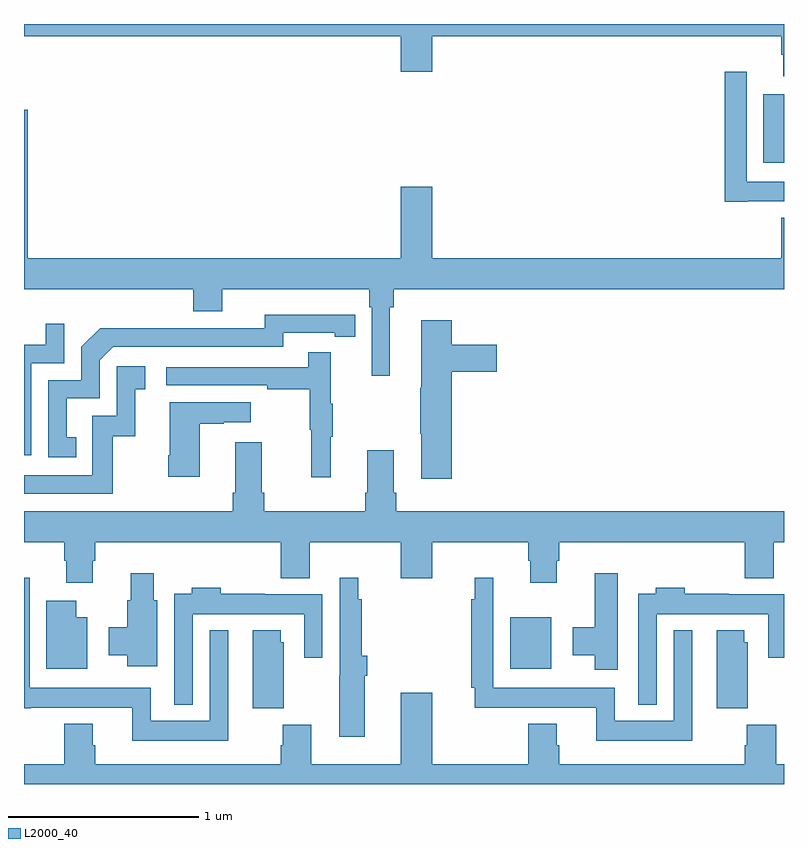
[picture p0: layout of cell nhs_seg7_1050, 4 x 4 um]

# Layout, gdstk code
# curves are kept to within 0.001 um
import gdstk
lib = gdstk.Library(unit=1e-6, precision=1e-09)
def R(c, l, rs):  # rectangles x0, y0, x1, y1
    for r in rs: c.add(gdstk.rectangle(r[:2], r[2:], *l))
def P(c, l, *ps):  # polygons
    for p in ps: c.add(gdstk.Polygon(p, *l))
L2000_40 = (2000, 40)

nhs_seg7_1050 = lib.new_cell('nhs_seg7_1050')
R(nhs_seg7_1050, L2000_40, [(189.56,1010.606,189.775,1010.878), (190.892,1013.27,191,1013.629)])
P(nhs_seg7_1050, L2000_40, [(191,1014),(187,1014),(187,1013.936),(188.984,1013.936),(188.984,1013.748),(189.148,1013.748),(189.148,1013.936),(190.985,1013.936),(190.985,1013.838),(190.997,1013.838),(190.997,1013.724),(191,1013.724)],
  [(190.81,1013.066),(191,1013.066),(191,1013.17),(190.803,1013.17),(190.803,1013.749),(190.687,1013.749),(190.687,1013.064),(190.81,1013.064)],
  [(188.926,1012.508),(188.945,1012.508),(188.945,1012.604),(191,1012.604),(191,1012.981),(190.985,1012.981),(190.985,1012.768),(189.148,1012.768),(189.148,1013.143),(188.984,1013.143),(188.984,1012.768),(187.019,1012.768),(187.019,1013.548),(187,1013.548),(187,1012.604),(187.892,1012.604),(187.892,1012.487),(188.044,1012.487),(188.044,1012.604),(188.816,1012.604),(188.816,1012.508),(188.829,1012.508),(188.829,1012.149),(188.926,1012.149)],
  [(187.274,1011.825),(187.225,1011.825),(187.225,1012.029),(187.398,1012.029),(187.398,1012.23),(187.47,1012.302),(188.364,1012.302),(188.364,1012.374),(188.636,1012.374),(188.636,1012.354),(188.744,1012.354),(188.744,1012.47),(188.268,1012.471),(188.268,1012.398),(187.808,1012.398),(187.808,1012.4),(187.4,1012.4),(187.302,1012.302),(187.302,1012.125),(187.128,1012.125),(187.128,1011.72),(187.274,1011.72)],
  [(189.251,1012.169),(189.487,1012.169),(189.487,1012.311),(189.251,1012.311),(189.251,1012.441),(189.092,1012.441),(189.092,1012.085),(189.085,1012.085),(189.085,1011.844),(189.092,1011.844),(189.092,1011.606),(189.251,1011.606)],
  [(187.038,1012.215),(187.212,1012.215),(187.212,1012.423),(187.115,1012.423),(187.115,1012.311),(187,1012.311),(187,1011.729),(187.038,1011.729)],
  [(188.615,1011.827),(188.626,1011.827),(188.626,1012.001),(188.615,1012.001),(188.615,1012.273),(188.497,1012.273),(188.497,1012.194),(187.749,1012.194),(187.749,1012.098),(188.281,1012.098),(188.281,1012.078),(188.505,1012.078),(188.505,1011.864),(188.512,1011.864),(188.512,1011.615),(188.615,1011.615)],
  [(187.468,1011.831),(187.586,1011.831),(187.586,1012.077),(187.639,1012.077),(187.639,1012.198),(187.488,1012.198),(187.488,1011.939),(187.359,1011.939),(187.359,1011.624),(187,1011.624),(187,1011.528),(187.468,1011.528)],
  [(187.924,1011.895),(188.051,1011.895),(188.051,1011.905),(188.194,1011.905),(188.194,1012.009),(187.766,1012.009),(187.766,1011.73),(187.759,1011.73),(187.759,1011.618),(187.924,1011.618)],
  [(187.363,1011.174),(187.376,1011.174),(187.376,1011.272),(188.351,1011.272),(188.351,1011.083),(188.503,1011.083),(188.503,1011.272),(188.984,1011.272),(188.984,1011.084),(189.148,1011.084),(189.148,1011.272),(189.653,1011.272),(189.653,1011.174),(189.665,1011.174),(189.665,1011.06),(189.805,1011.06),(189.805,1011.174),(189.818,1011.174),(189.818,1011.272),(190.793,1011.272),(190.793,1011.083),(190.945,1011.083),(190.945,1011.272),(191,1011.272),(191,1011.436),(188.96,1011.436),(188.96,1011.532),(188.947,1011.532),(188.947,1011.757),(188.807,1011.757),(188.807,1011.532),(188.795,1011.532),(188.795,1011.436),(188.264,1011.436),(188.264,1011.532),(188.251,1011.532),(188.251,1011.799),(188.111,1011.799),(188.111,1011.532),(188.099,1011.532),(188.099,1011.436),(187,1011.436),(187,1011.272),(187.211,1011.272),(187.211,1011.174),(187.223,1011.174),(187.223,1011.06),(187.363,1011.06)],
  [(187.702,1010.967),(187.684,1010.967),(187.684,1011.109),(187.562,1011.109),(187.562,1010.967),(187.544,1010.967),(187.544,1010.826),(187.445,1010.826),(187.445,1010.678),(187.544,1010.678),(187.544,1010.619),(187.702,1010.619)],
  [(190.126,1011.109),(190.004,1011.109),(190.004,1010.826),(189.887,1010.826),(189.887,1010.678),(190.004,1010.678),(190.004,1010.601),(190.126,1010.601)],
  [(188.794,1010.57),(188.807,1010.57),(188.807,1010.674),(188.777,1010.674),(188.777,1010.972),(188.76,1010.972),(188.76,1011.085),(188.661,1011.085),(188.661,1010.57),(188.66,1010.57),(188.66,1010.25),(188.794,1010.25)],
  [(190.516,1010.809),(190.419,1010.809),(190.419,1010.332),(190.11,1010.332),(190.11,1010.506),(189.471,1010.506),(189.471,1011.085),(189.373,1011.085),(189.373,1010.972),(189.355,1010.972),(189.355,1010.506),(189.373,1010.506),(189.373,1010.402),(190.013,1010.402),(190.013,1010.228),(190.516,1010.228)],
  [(188.074,1010.809),(187.977,1010.809),(187.977,1010.332),(187.668,1010.332),(187.668,1010.506),(187.029,1010.506),(187.029,1011.085),(187,1011.085),(187,1010.4),(187.036,1010.4),(187.036,1010.402),(187.571,1010.402),(187.571,1010.228),(188.074,1010.228)],
  [(187.887,1010.894),(188.475,1010.894),(188.475,1010.664),(188.571,1010.664),(188.571,1010.998),(188.267,1010.998),(188.267,1011.001),(188.036,1011.001),(188.036,1011.034),(187.883,1011.034),(187.883,1011.001),(187.791,1011.001),(187.791,1010.417),(187.887,1010.417)],
  [(190.329,1010.894),(190.917,1010.894),(190.917,1010.664),(191,1010.664),(191,1010.998),(190.709,1010.998),(190.709,1011.001),(190.478,1011.001),(190.478,1011.034),(190.325,1011.034),(190.325,1011.001),(190.233,1011.001),(190.233,1010.417),(190.329,1010.417)],
  [(187.333,1010.878),(187.276,1010.878),(187.276,1010.965),(187.118,1010.965),(187.118,1010.606),(187.333,1010.606)],
  [(190.81,1010.745),(190.792,1010.745),(190.792,1010.809),(190.646,1010.809),(190.646,1010.398),(190.81,1010.398)],
  [(188.368,1010.745),(188.35,1010.745),(188.35,1010.809),(188.204,1010.809),(188.204,1010.398),(188.368,1010.398)],
  [(191,1010.104),(190.958,1010.104),(190.958,1010.313),(190.805,1010.313),(190.805,1010.204),(190.793,1010.204),(190.793,1010.104),(189.818,1010.104),(189.818,1010.205),(189.805,1010.205),(189.805,1010.317),(189.653,1010.317),(189.653,1010.104),(189.148,1010.104),(189.148,1010.479),(188.984,1010.479),(188.984,1010.104),(188.511,1010.104),(188.511,1010.313),(188.363,1010.313),(188.363,1010.204),(188.351,1010.204),(188.351,1010.104),(187.376,1010.104),(187.376,1010.205),(187.363,1010.205),(187.363,1010.317),(187.211,1010.317),(187.211,1010.104),(187,1010.104),(187,1010),(191,1010)])

lib.write_gds('nhs_seg7_1050.gds')
